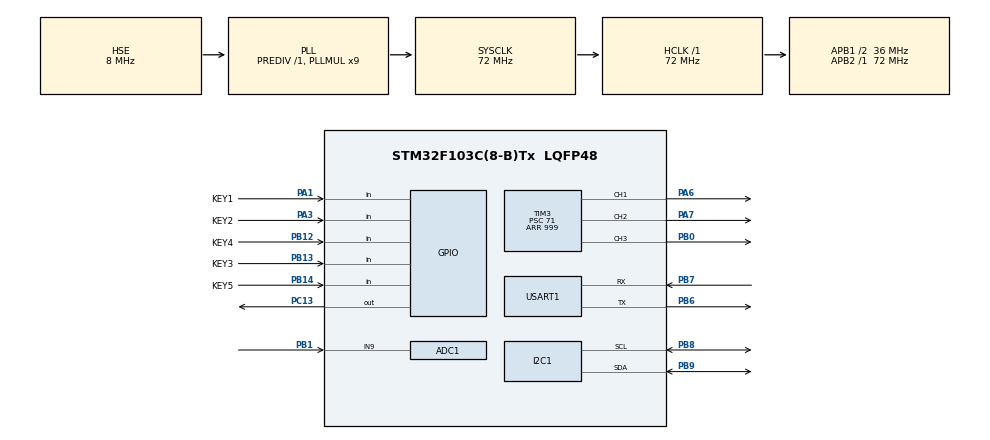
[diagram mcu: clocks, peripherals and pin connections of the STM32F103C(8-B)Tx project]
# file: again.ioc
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ADC1.Channel-7\#ChannelRegularConversion=ADC_CHANNEL_9
ADC1.NbrOfConversionFlag=1
ADC1.Rank-7\#ChannelRegularConversion=1
ADC1.SamplingTime-7\#ChannelRegularConversion=ADC_SAMPLETIME_71CYCLES_5
ADC1.master=1
Dma.Request0=USART1_TX
Dma.USART1_TX.0.Direction=DMA_MEMORY_TO_PERIPH
Dma.USART1_TX.0.Instance=DMA1_Channel4
Dma.USART1_TX.0.MemDataAlignment=DMA_MDATAALIGN_BYTE
Dma.USART1_TX.0.MemInc=DMA_MINC_ENABLE
Dma.USART1_TX.0.Mode=DMA_NORMAL
Dma.USART1_TX.0.PeriphDataAlignment=DMA_PDATAALIGN_BYTE
Dma.USART1_TX.0.PeriphInc=DMA_PINC_DISABLE
Dma.USART1_TX.0.Priority=DMA_PRIORITY_LOW
I2C1.I2C_Mode=I2C_Fast
Mcu.Family=STM32F1
Mcu.Name=STM32F103C(8-B)Tx
Mcu.Package=LQFP48
NVIC.DMA1_Channel4_IRQn=true\:0\:0\:false\:false\:true\:false\:true\:true
NVIC.PriorityGroup=NVIC_PRIORITYGROUP_4
NVIC.TIM4_IRQn=true\:0\:0\:false\:false\:true\:true\:true\:true
NVIC.USART1_IRQn=true\:0\:0\:false\:false\:true\:true\:true\:true
PA1.GPIO_Label=KEY1
PA1.GPIO_PuPd=GPIO_PULLUP
PA1.Signal=GPIO_Input
PA13.Mode=Serial_Wire
PA13.Signal=SYS_JTMS-SWDIO
PA14.Mode=Serial_Wire
PA14.Signal=SYS_JTCK-SWCLK
PA3.GPIO_Label=KEY2
PA3.GPIO_PuPd=GPIO_PULLUP
PA3.Signal=GPIO_Input
PA6.Signal=S_TIM3_CH1
PA7.Signal=S_TIM3_CH2
PB0.Signal=S_TIM3_CH3
PB1.Signal=ADCx_IN9
PB12.GPIO_Label=KEY4
PB12.GPIO_PuPd=GPIO_PULLDOWN
PB12.Signal=GPIO_Input
PB13.GPIO_Label=KEY3
PB13.GPIO_PuPd=GPIO_PULLDOWN
PB13.Signal=GPIO_Input
PB14.GPIO_Label=KEY5
PB14.GPIO_PuPd=GPIO_PULLDOWN
PB14.Signal=GPIO_Input
PB6.Mode=Asynchronous
PB6.Signal=USART1_TX
PB7.Mode=Asynchronous
PB7.Signal=USART1_RX
PB8.Mode=I2C
PB8.Signal=I2C1_SCL
PB9.Mode=I2C
PB9.Signal=I2C1_SDA
PC13-TAMPER-RTC.Signal=GPIO_Output
PD0-OSC_IN.Mode=HSE-External-Oscillator
PD0-OSC_IN.Signal=RCC_OSC_IN
PD1-OSC_OUT.Mode=HSE-External-Oscillator
PD1-OSC_OUT.Signal=RCC_OSC_OUT
ProjectManager.HeapSize=0x200
ProjectManager.StackSize=0x400
ProjectManager.TargetToolchain=MDK-ARM V5.32
RCC.ADCPresc=RCC_ADCPCLK2_DIV6
RCC.AHBFreq_Value=72000000
RCC.APB1CLKDivider=RCC_HCLK_DIV2
RCC.APB1Freq_Value=36000000
RCC.APB1TimFreq_Value=72000000
RCC.APB2Freq_Value=72000000
RCC.APB2TimFreq_Value=72000000
RCC.HCLKFreq_Value=72000000
RCC.PLLMUL=RCC_PLL_MUL9
RCC.PLLSourceVirtual=RCC_PLLSOURCE_HSE
RCC.SYSCLKFreq_VALUE=72000000
RCC.SYSCLKSource=RCC_SYSCLKSOURCE_PLLCLK
RCC.USBFreq_Value=72000000
SH.ADCx_IN9.0=ADC1_IN9,IN9
SH.S_TIM3_CH1.0=TIM3_CH1,PWM Generation1 CH1
SH.S_TIM3_CH2.0=TIM3_CH2,PWM Generation2 CH2
SH.S_TIM3_CH3.0=TIM3_CH3,PWM Generation3 CH3
TIM3.Channel-PWM\ Generation1\ CH1=TIM_CHANNEL_1
TIM3.Channel-PWM\ Generation2\ CH2=TIM_CHANNEL_2
TIM3.Channel-PWM\ Generation3\ CH3=TIM_CHANNEL_3
TIM3.Period=999
TIM3.Prescaler=71
TIM3.Pulse-PWM\ Generation1\ CH1=500
TIM3.Pulse-PWM\ Generation2\ CH2=500
TIM3.Pulse-PWM\ Generation3\ CH3=0
TIM4.Period=9
TIM4.Prescaler=7199
USART1.VirtualMode=VM_ASYNC
VP_TIM3_VS_ClockSourceINT.Mode=Internal
VP_TIM4_VS_ClockSourceINT.Mode=Internal
board=custom

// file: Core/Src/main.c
/* USER CODE BEGIN Header */
/**
  ******************************************************************************
  * @file           : main.c
  * @brief          : Main program body
  ******************************************************************************
  * @attention
  *
  * Copyright (c) 2026 STMicroelectronics.
  * All rights reserved.
  *
  * This software is licensed under terms that can be found in the LICENSE file
  * in the root directory of this software component.
  * If no LICENSE file comes with this software, it is provided AS-IS.
  *
  ******************************************************************************
  */
/* USER CODE END Header */
#include "main.h"
#include "adc.h"
#include "dma.h"
#include "i2c.h"
#include "tim.h"
#include "usart.h"
#include "gpio.h"

/* USER CODE BEGIN Includes */
#include "key.h"   // 引入你刚才写好的按键模块
#include "uart.h"
#include <stdio.h> // 为了用 sprintf
#include <string.h>
#include "oled.h"
#include "my_adc.h"
#include "mpu6050.h"
#include "test.h"
#include "page.h"
#include "clock.h"
/* USER CODE END Includes */

void SystemClock_Config(void);

/* USER CODE BEGIN 0 */
void HAL_TIM_PeriodElapsedCallback(TIM_HandleTypeDef *htim)
{
   if (htim->Instance == TIM4)
    {
        key_scan_task();
        page_key_scan();
    }
}

/* USER CODE END 0 */

int main(void)
{

  /* MCU Configuration--------------------------------------------------------*/

  /* Reset of all peripherals, Initializes the Flash interface and the Systick. */
  HAL_Init();

  /* Configure the system clock */
  SystemClock_Config();

  /* Initialize all configured peripherals */
  MX_GPIO_Init();
  MX_DMA_Init();
  MX_TIM4_Init();
  MX_TIM3_Init();
  MX_USART1_UART_Init();
  MX_ADC1_Init();
  MX_I2C1_Init();
  /* USER CODE BEGIN 2 */

  HAL_TIM_Base_Start_IT(&htim4);

  HAL_TIM_PWM_Start(&htim3,TIM_CHANNEL_1);
  HAL_TIM_PWM_Start(&htim3,TIM_CHANNEL_2);
  HAL_TIM_PWM_Start(&htim3,TIM_CHANNEL_3);

  uart_start_receive();

  HAL_Delay(20);
  OLED_Init();

	MPU6050_Init();        // 失败也不停机，靠 g_mpu.ok 显示 MPU ERROR

  test_mpu_id();

  //char message[50] = "";

  /* USER CODE END 2 */

  /* Infinite loop */
  /* USER CODE BEGIN WHILE */
  while (1)
  {

      uart_process_task();  // 串口：先只读 key_event，不清零（必须排在 led_mode_task 之前）

        nav_key_task();        // 导航键 KEY4/KEY5：消息页翻消息，时间页控制计时
        clock_task();          // 秒表 / 倒计时 往前推
        led_mode_task();       // 灯效：每一页 KEY1/KEY2 都能用
        page_task();           // 页面

    /* USER CODE END WHILE */

  }
}

void SystemClock_Config(void)
{
  RCC_OscInitTypeDef RCC_OscInitStruct = {0};
  RCC_ClkInitTypeDef RCC_ClkInitStruct = {0};
  RCC_PeriphCLKInitTypeDef PeriphClkInit = {0};

  /** Initializes the RCC Oscillators according to the specified parameters
  * in the RCC_OscInitTypeDef structure.
  */
  RCC_OscInitStruct.OscillatorType = RCC_OSCILLATORTYPE_HSE;
  RCC_OscInitStruct.HSEState = RCC_HSE_ON;
  RCC_OscInitStruct.HSEPredivValue = RCC_HSE_PREDIV_DIV1;
  RCC_OscInitStruct.HSIState = RCC_HSI_ON;
  RCC_OscInitStruct.PLL.PLLState = RCC_PLL_ON;
  RCC_OscInitStruct.PLL.PLLSource = RCC_PLLSOURCE_HSE;
  RCC_OscInitStruct.PLL.PLLMUL = RCC_PLL_MUL9;
  if (HAL_RCC_OscConfig(&RCC_OscInitStruct) != HAL_OK)
  {
    Error_Handler();
  }

  /** Initializes the CPU, AHB and APB buses clocks
  */
  RCC_ClkInitStruct.ClockType = RCC_CLOCKTYPE_HCLK|RCC_CLOCKTYPE_SYSCLK
                              |RCC_CLOCKTYPE_PCLK1|RCC_CLOCKTYPE_PCLK2;
  RCC_ClkInitStruct.SYSCLKSource = RCC_SYSCLKSOURCE_PLLCLK;
  RCC_ClkInitStruct.AHBCLKDivider = RCC_SYSCLK_DIV1;
  RCC_ClkInitStruct.APB1CLKDivider = RCC_HCLK_DIV2;
  RCC_ClkInitStruct.APB2CLKDivider = RCC_HCLK_DIV1;

  if (HAL_RCC_ClockConfig(&RCC_ClkInitStruct, FLASH_LATENCY_2) != HAL_OK)
  {
    Error_Handler();
  }
  PeriphClkInit.PeriphClockSelection = RCC_PERIPHCLK_ADC;
  PeriphClkInit.AdcClockSelection = RCC_ADCPCLK2_DIV6;
  if (HAL_RCCEx_PeriphCLKConfig(&PeriphClkInit) != HAL_OK)
  {
    Error_Handler();
  }
}

void Error_Handler(void)
{
  __disable_irq();
  while (1)
  {
  }
}
